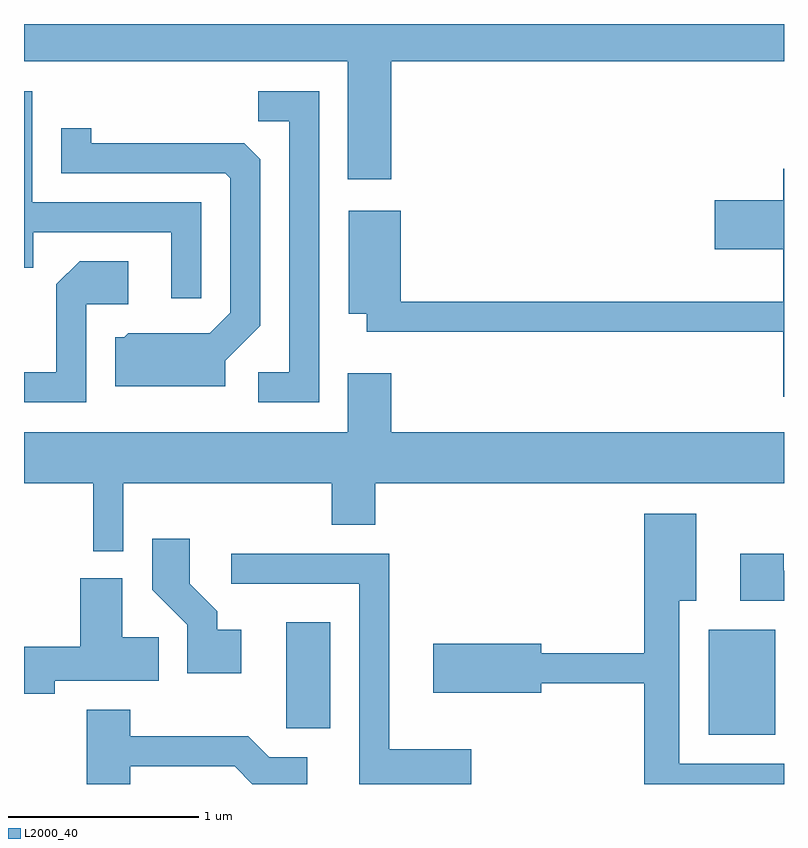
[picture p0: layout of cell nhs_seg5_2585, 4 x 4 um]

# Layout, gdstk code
import gdstk
lib = gdstk.Library(unit=1e-6, precision=1e-09)
def R(c, l, rs):  # rectangles x0, y0, x1, y1
    for r in rs: c.add(gdstk.rectangle(r[:2], r[2:], *l))
def P(c, l, *ps):  # polygons
    for p in ps: c.add(gdstk.Polygon(p, *l))
L2000_40 = (2000, 40)

nhs_seg5_2585 = lib.new_cell('nhs_seg5_2585')
R(nhs_seg5_2585, L2000_40, [(265.216,1484.331,265.564,1484.884), (262.991,1484.366,263.224,1484.924)])
P(nhs_seg5_2585, L2000_40, [(263.544,1487.876),(265.611,1487.876),(265.611,1488.072),(261.611,1488.072),(261.611,1487.876),(263.316,1487.876),(263.316,1487.256),(263.544,1487.256)],
  [(263.164,1487.719),(262.843,1487.719),(262.843,1487.561),(263.006,1487.561),(263.006,1486.239),(262.843,1486.239),(262.843,1486.081),(263.164,1486.081)],
  [(262.544,1487.134),(261.654,1487.134),(261.654,1487.719),(261.611,1487.719),(261.611,1486.788),(261.659,1486.788),(261.659,1486.976),(262.386,1486.976),(262.386,1486.628),(262.544,1486.628)],
  [(262.669,1486.299),(262.854,1486.484),(262.854,1487.359),(262.769,1487.444),(261.964,1487.444),(261.964,1487.523),(261.806,1487.523),(261.806,1487.286),(262.669,1487.286),(262.696,1487.259),(262.696,1486.552),(262.589,1486.444),(262.159,1486.444),(262.139,1486.424),(262.091,1486.424),(262.091,1486.166),(262.669,1486.166)],
  [(265.611,1487.309),(265.606,1487.309),(265.606,1487.144),(265.246,1487.144),(265.246,1486.886),(265.606,1486.886),(265.606,1486.609),(263.594,1486.609),(263.594,1487.089),(263.321,1487.089),(263.321,1486.546),(263.416,1486.546),(263.416,1486.451),(265.606,1486.451),(265.606,1486.111),(265.611,1486.111)],
  [(261.939,1486.596),(262.159,1486.596),(262.159,1486.824),(261.904,1486.824),(261.781,1486.702),(261.781,1486.239),(261.611,1486.239),(261.611,1486.081),(261.939,1486.081)],
  [(262.134,1485.656),(263.231,1485.656),(263.231,1485.436),(263.459,1485.436),(263.459,1485.656),(265.611,1485.656),(265.611,1485.924),(263.544,1485.924),(263.544,1486.234),(263.316,1486.234),(263.316,1485.924),(261.611,1485.924),(261.611,1485.656),(261.976,1485.656),(261.976,1485.298),(262.134,1485.298)],
  [(265.611,1484.179),(265.059,1484.179),(265.059,1485.036),(265.149,1485.036),(265.149,1485.494),(264.876,1485.494),(264.876,1484.759),(264.334,1484.759),(264.334,1484.809),(263.766,1484.809),(263.766,1484.551),(264.334,1484.551),(264.334,1484.601),(264.876,1484.601),(264.876,1484.072),(265.611,1484.072)],
  [(262.754,1484.884),(262.629,1484.884),(262.629,1484.982),(262.484,1485.127),(262.484,1485.364),(262.286,1485.364),(262.286,1485.094),(262.471,1484.909),(262.471,1484.656),(262.754,1484.656)],
  [(265.611,1485.194),(265.609,1485.194),(265.609,1485.284),(265.381,1485.284),(265.381,1485.036),(265.611,1485.036)],
  [(263.964,1484.254),(263.534,1484.254),(263.534,1485.284),(262.703,1485.284),(262.703,1485.126),(263.376,1485.126),(263.376,1484.072),(263.964,1484.072)],
  [(261.774,1484.616),(262.319,1484.616),(262.319,1484.844),(262.129,1484.844),(262.129,1485.154),(261.906,1485.154),(261.906,1484.794),(261.611,1484.794),(261.611,1484.546),(261.774,1484.546)],
  [(262.169,1484.166),(262.719,1484.166),(262.813,1484.072),(263.103,1484.072),(263.103,1484.214),(262.902,1484.214),(262.792,1484.324),(262.169,1484.324),(262.169,1484.464),(261.941,1484.464),(261.941,1484.072),(262.169,1484.072)])

lib.write_gds('nhs_seg5_2585.gds')
